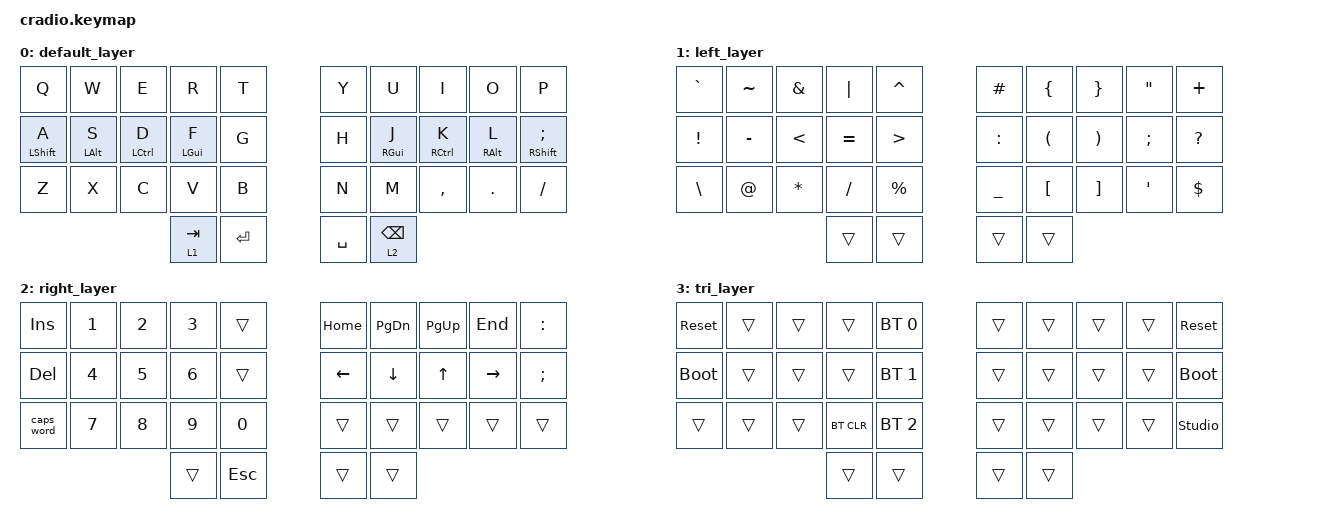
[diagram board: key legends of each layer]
// Copyright (c) 2022 The ZMK Contributors
// SPDX-License-Identifier: MIT

#include <behaviors.dtsi>
#include <dt-bindings/zmk/bt.h>
#include <dt-bindings/zmk/keys.h>

/ {
    behaviors {
        ht: hold_tap {
            compatible = "zmk,behavior-hold-tap";
            #binding-cells = <2>;
            flavor = "tap-preferred";
            display-name = "Mod-Tap";
            tapping-term-ms = <220>;
            quick-tap-ms = <150>;
            require-prior-idle-ms = <100>;
            bindings = <&kp>, <&kp>;
        };
    };

    conditional_layers {
        compatible = "zmk,conditional-layers";

        tri_layer {
            if-layers = <2 1>;
            then-layer = <3>;
        };
    };

    keymap {
        compatible = "zmk,keymap";

        default_layer {
            bindings = <
&kp Q          &kp W       &kp E        &kp R       &kp T        &kp Y      &kp U       &kp I        &kp O       &kp P
&ht LSHFT A    &ht LALT S  &ht LCTRL D  &ht LGUI F  &kp G        &kp H      &ht RGUI J  &ht RCTRL K  &ht RALT L  &ht RSHFT SEMI
&kp Z          &kp X       &kp C        &kp V       &kp B        &kp N      &kp M       &kp COMMA    &kp DOT     &kp FSLH
                                        &lt 1 TAB   &kp ENTER    &kp SPACE  &lt 2 BSPC
            >;
        };

        left_layer {
            bindings = <
&kp GRAVE        &kp TILDE    &kp AMPERSAND  &kp PIPE   &kp CARET           &kp HASH        &kp LEFT_BRACE     &kp RIGHT_BRACE     &kp DOUBLE_QUOTES  &kp PLUS
&kp EXCLAMATION  &kp MINUS    &kp LESS_THAN  &kp EQUAL  &kp GREATER_THAN    &kp COLON       &kp LEFT_PARENTHESIS  &kp RIGHT_PARENTHESIS  &kp SEMICOLON    &kp QUESTION
&kp BACKSLASH    &kp AT_SIGN  &kp ASTERISK   &kp SLASH  &kp PERCENT         &kp UNDERSCORE  &kp LEFT_BRACKET   &kp RIGHT_BRACKET   &kp SQT            &kp DOLLAR
                                             &trans     &trans              &trans          &trans
            >;
        };

        right_layer {
            bindings = <
&kp INS     &kp N1  &kp N2  &kp N3  &trans     &kp HOME  &kp PG_DN  &kp PG_UP  &kp END    &kp COLON
&kp DEL     &kp N4  &kp N5  &kp N6  &trans     &kp LEFT  &kp DOWN   &kp UP     &kp RIGHT  &kp SEMI
&caps_word  &kp N7  &kp N8  &kp N9  &kp N0     &trans    &trans     &trans     &trans     &trans
                            &trans  &kp ESC    &trans    &trans
            >;
        };

        tri_layer {
            bindings = <
&sys_reset   &trans  &trans  &trans      &bt BT_SEL 0    &trans  &trans  &trans  &trans  &sys_reset
&bootloader  &trans  &trans  &trans      &bt BT_SEL 1    &trans  &trans  &trans  &trans  &bootloader
&trans       &trans  &trans  &bt BT_CLR  &bt BT_SEL 2    &trans  &trans  &trans  &trans  &studio_unlock
                             &trans      &trans          &trans  &trans
            >;
        };
    };
};
